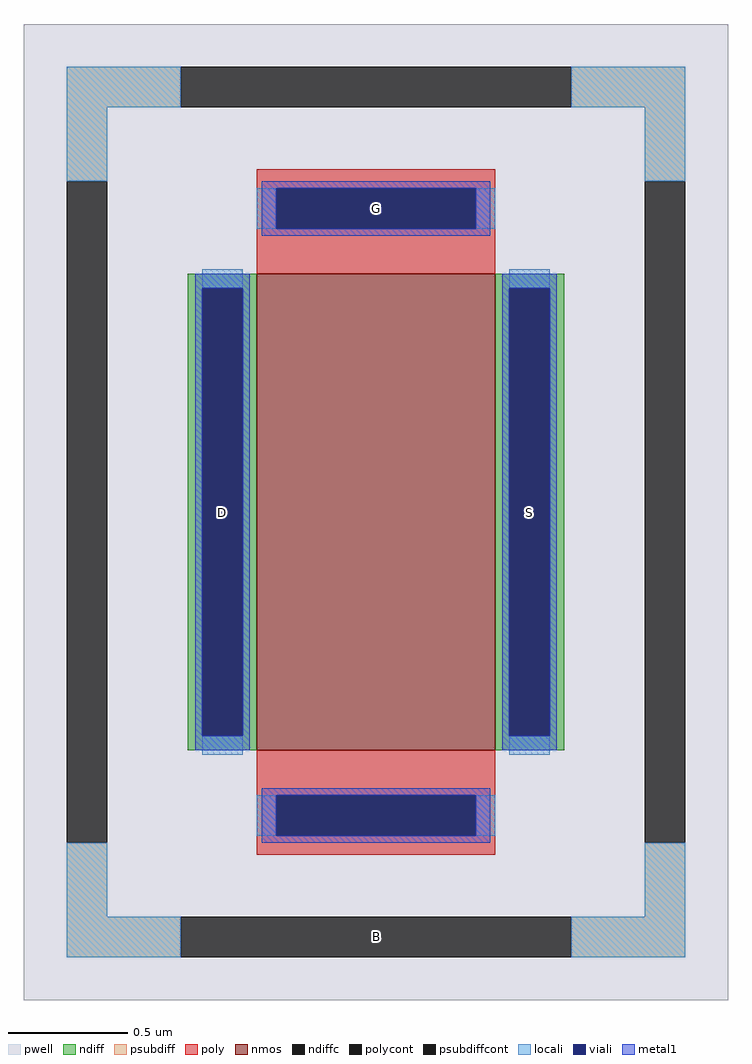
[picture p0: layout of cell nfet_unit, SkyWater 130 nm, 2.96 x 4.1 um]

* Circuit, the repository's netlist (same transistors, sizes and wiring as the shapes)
* NGSPICE file created from nfet_unit.ext - technology: sky130A

.subckt nfet_unit B D S G
X0 S G D B sky130_fd_pr__nfet_01v8 ad=0.58 pd=4.58 as=0.58 ps=4.58 w=2 l=1
.ends

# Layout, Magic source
magic
tech sky130A
magscale 1 2
<< pwell >>
rect -296 -410 296 410
<< nmos >>
rect -100 -200 100 200
<< ndiff >>
rect -158 188 -100 200
rect -158 -188 -146 188
rect -112 -188 -100 188
rect -158 -200 -100 -188
rect 100 188 158 200
rect 100 -188 112 188
rect 146 -188 158 188
rect 100 -200 158 -188
<< ndiffc >>
rect -146 -188 -112 188
rect 112 -188 146 188
<< psubdiff >>
rect -260 340 -164 374
rect 164 340 260 374
rect -260 278 -226 340
rect 226 278 260 340
rect -260 -340 -226 -278
rect 226 -340 260 -278
rect -260 -374 -164 -340
rect 164 -374 260 -340
<< psubdiffcont >>
rect -164 340 164 374
rect -260 -278 -226 278
rect 226 -278 260 278
rect -164 -374 164 -340
<< poly >>
rect -100 272 100 288
rect -100 238 -84 272
rect 84 238 100 272
rect -100 200 100 238
rect -100 -238 100 -200
rect -100 -272 -84 -238
rect 84 -272 100 -238
rect -100 -288 100 -272
<< polycont >>
rect -84 238 84 272
rect -84 -272 84 -238
<< locali >>
rect -260 340 -164 374
rect 164 340 260 374
rect -260 278 -226 340
rect 226 278 260 340
rect -100 238 -84 272
rect 84 238 100 272
rect -146 188 -112 204
rect -146 -204 -112 -188
rect 112 188 146 204
rect 112 -204 146 -188
rect -100 -272 -84 -238
rect 84 -272 100 -238
rect -260 -340 -226 -278
rect 226 -340 260 -278
rect -260 -374 -164 -340
rect 164 -374 260 -340
<< viali >>
rect -84 238 84 272
rect -146 -188 -112 188
rect 112 -188 146 188
rect -84 -272 84 -238
<< metal1 >>
rect -96 272 96 278
rect -96 238 -84 272
rect 84 238 96 272
rect -96 232 96 238
rect -152 188 -106 200
rect -152 -188 -146 188
rect -112 -188 -106 188
rect -152 -200 -106 -188
rect 106 188 152 200
rect 106 -188 112 188
rect 146 -188 152 188
rect 106 -200 152 -188
rect -96 -238 96 -232
rect -96 -272 -84 -238
rect 84 -272 96 -238
rect -96 -278 96 -272
<< labels >>
rlabel psubdiffcont 0 -357 0 -357 0 B
port 1 nsew
rlabel ndiffc -129 0 -129 0 0 D
port 2 nsew
rlabel ndiffc 129 0 129 0 0 S
port 3 nsew
rlabel polycont 0 255 0 255 0 G
port 4 nsew
<< properties >>
string FIXED_BBOX -243 -357 243 357
<< end >>
